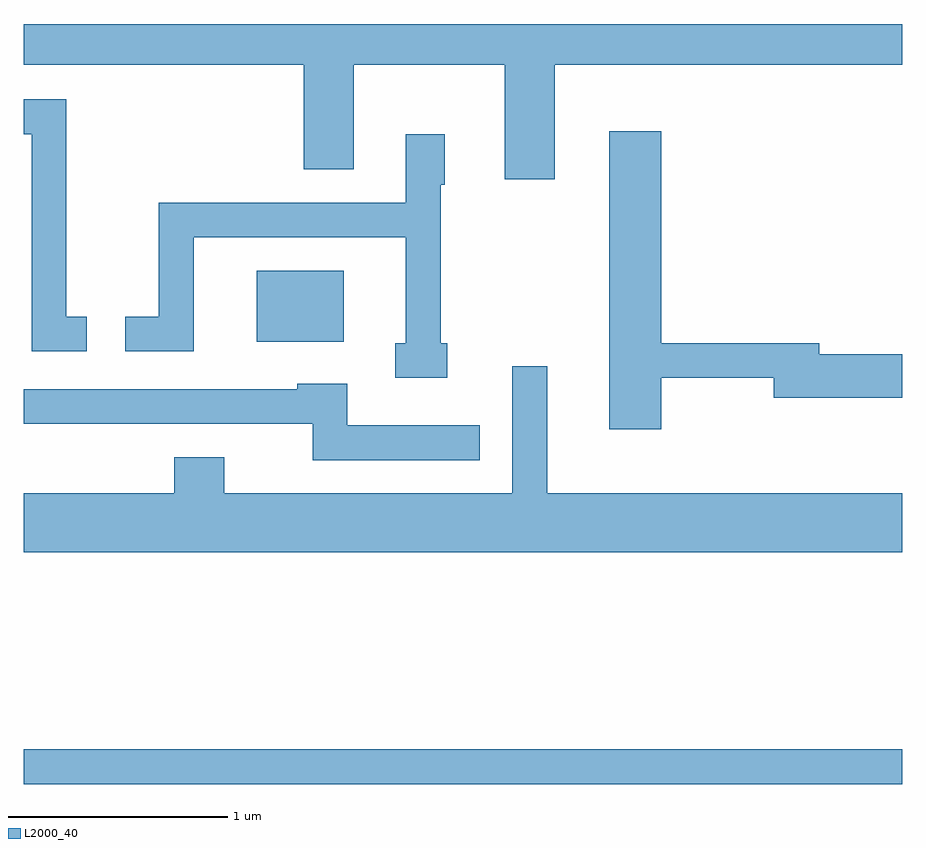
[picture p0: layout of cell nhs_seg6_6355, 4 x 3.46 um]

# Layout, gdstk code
import gdstk
lib = gdstk.Library(unit=1e-6, precision=1e-09)
def R(c, l, rs):  # rectangles x0, y0, x1, y1
    for r in rs: c.add(gdstk.rectangle(r[:2], r[2:], *l))
def P(c, l, *ps):  # polygons
    for p in ps: c.add(gdstk.Polygon(p, *l))
L2000_40 = (2000, 40)

nhs_seg6_6355 = lib.new_cell('nhs_seg6_6355')
R(nhs_seg6_6355, L2000_40, [(377.611,1606.701,381.611,1606.859), (378.671,1608.716,379.069,1609.039)])
P(nhs_seg6_6355, L2000_40, [(380.029,1609.976),(381.611,1609.976),(381.611,1610.162),(377.611,1610.162),(377.611,1609.976),(378.886,1609.976),(378.886,1609.501),(379.114,1609.501),(379.114,1609.976),(379.801,1609.976),(379.801,1609.456),(380.029,1609.456)],
  [(377.898,1608.829),(377.804,1608.829),(377.804,1609.819),(377.611,1609.819),(377.611,1609.661),(377.646,1609.661),(377.646,1608.671),(377.898,1608.671)],
  [(380.514,1608.551),(381.026,1608.551),(381.026,1608.461),(381.611,1608.461),(381.611,1608.659),(381.234,1608.659),(381.234,1608.709),(380.514,1608.709),(380.514,1609.674),(380.276,1609.674),(380.276,1608.316),(380.514,1608.316)],
  [(379.539,1608.709),(379.509,1608.709),(379.509,1609.431),(379.529,1609.431),(379.529,1609.659),(379.351,1609.659),(379.351,1609.349),(378.226,1609.349),(378.226,1608.829),(378.073,1608.829),(378.073,1608.671),(378.384,1608.671),(378.384,1609.191),(379.351,1609.191),(379.351,1608.709),(379.303,1608.709),(379.303,1608.551),(379.539,1608.551)],
  [(381.611,1608.024),(379.994,1608.024),(379.994,1608.603),(379.836,1608.603),(379.836,1608.024),(378.524,1608.024),(378.524,1608.189),(378.296,1608.189),(378.296,1608.024),(377.611,1608.024),(377.611,1607.756),(381.611,1607.756)],
  [(379.688,1608.334),(379.084,1608.334),(379.084,1608.524),(378.856,1608.524),(378.856,1608.499),(377.611,1608.499),(377.611,1608.341),(378.926,1608.341),(378.926,1608.176),(379.688,1608.176)])

lib.write_gds('nhs_seg6_6355.gds')
